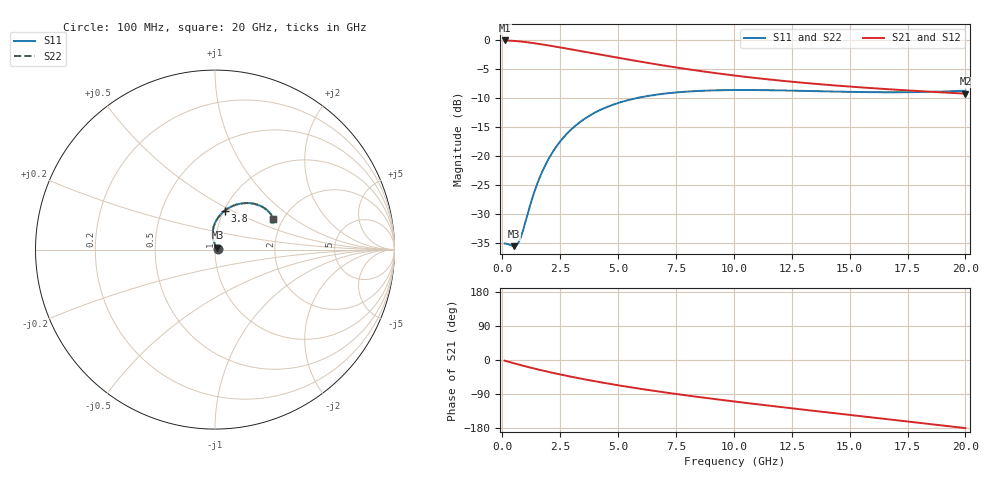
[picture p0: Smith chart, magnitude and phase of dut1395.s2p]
! Touchstone file exported from HFSS 2024.1.0
!  File:  C:/UserFiles/LocalFiles/RDL_TSV_Batchsim/temp_RDL_TSV_1395_1780404781.aedt
!  Generated:  09:08:46 PM Jun  2, 2026
!  Design:  RDL_TSV
!  Project:  temp_RDL_TSV_1395_1780404781
!  Setup:  Setup1
!  Solution:  Sweep
! Variables:
!  dtsv = 11.8um
!  hbump = 3um
!  htsv = 79.46um
!  ldown = 297.2um
!  lrdl = 345.42um
!  p = 40
!  p1 = 55.05um
!  rhole = 10um
!  subl = 2273.28um
!  t = 450um
!  tdown = 3.64um
!  trdl = 3.81um
!  viad = 10um
!  wdown = 10.77um
!  wrdl = 13.51um
!  xbump = 18um
# GHz S MA R 50.000000
! Terminal data exported
! Port[1] = TM1_1_T1
! Port[2] = TM1_4_T1
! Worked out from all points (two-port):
!   200 points, 100 MHz to 20 GHz, reference 50 ohm
!   highest |S21| = -0.16 dB at 100 MHz (marker M1); lowest = -9.3 dB at 20 GHz (marker M2)
!   |S21| within 3 dB of the highest: start of sweep to 5.037 GHz
!   lowest |S11| = -35.5 dB at 500 MHz (marker M3), VSWR 1.03, Z = 51.4 + j1.02 ohm
!   |S11| at or under -10 dB: start of sweep to 5.89 GHz
!   |S22| runs from -35.5 to -8.7 dB; largest |S21 - S12| = 3e-14
!   S11 on the Smith chart (normalised r, x): 100 MHz: 1.04, +0.00; 3.8 GHz: 1.01, +0.46; 20 GHz: 1.77, +0.69
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0.1  0.01764 6.2  0.9819 -1.7  0.9819 -1.7  0.01764 6.2
! Gamma 0 0 0 0
! Port Impedance 50 0 50 0
0.5  0.01673 36.5  0.9732 -8.6  0.9732 -8.6  0.01673 36.5
0.6  0.01695 47.5  0.9697 -10.2  0.9697 -10.2  0.01695 47.5
0.7  0.01794 59.3  0.9658 -11.9  0.9658 -11.9  0.01793 59.3
0.8  0.01995 70.5  0.9615 -13.5  0.9615 -13.5  0.01994 70.5
1.4  0.04999 99.6  0.9286 -22.9  0.9286 -22.9  0.05 99.6
1.7  0.07127 100.2  0.9094 -27.3  0.9094 -27.3  0.07129 100.2
2  0.09413 98.1  0.8894 -31.5  0.8894 -31.5  0.09416 98.2
2.3  0.1175 94.9  0.869 -35.5  0.869 -35.5  0.1175 94.9
2.7  0.1483 89.9  0.8418 -40.7  0.8418 -40.7  0.1483 89.9
3.1  0.1775 84.7  0.815 -45.6  0.815 -45.6  0.1776 84.7
3.5  0.2047 79.6  0.7887 -50.4  0.7887 -50.4  0.2048 79.6
3.8  0.2235 75.9  0.7694 -53.8  0.7694 -53.8  0.2237 75.9
4.4  0.2569 69.1  0.7323 -60.4  0.7323 -60.4  0.257 69.1
5.1  0.2886 62.0  0.6916 -67.7  0.6916 -67.7  0.2888 62.0
6.8  0.3389 48.3  0.6057 -83.6  0.6057 -83.6  0.3391 48.3
8.4  0.3609 39.1  0.5414 -97.0  0.5414 -97.0  0.3612 39.2
10.1  0.3681 32.3  0.4883 -110.1  0.4883 -110.1  0.3684 32.4
11.7  0.3663 28.2  0.4498 -121.8  0.4498 -121.8  0.3666 28.2
13.4  0.3605 25.7  0.4178 -133.8  0.4178 -133.8  0.3608 25.7
16.7  0.3521 25.3  0.3736 -156.7  0.3736 -156.7  0.3525 25.4
20  0.3628 27.8  0.3427 -179.7  0.3427 -179.7  0.3633 27.9
